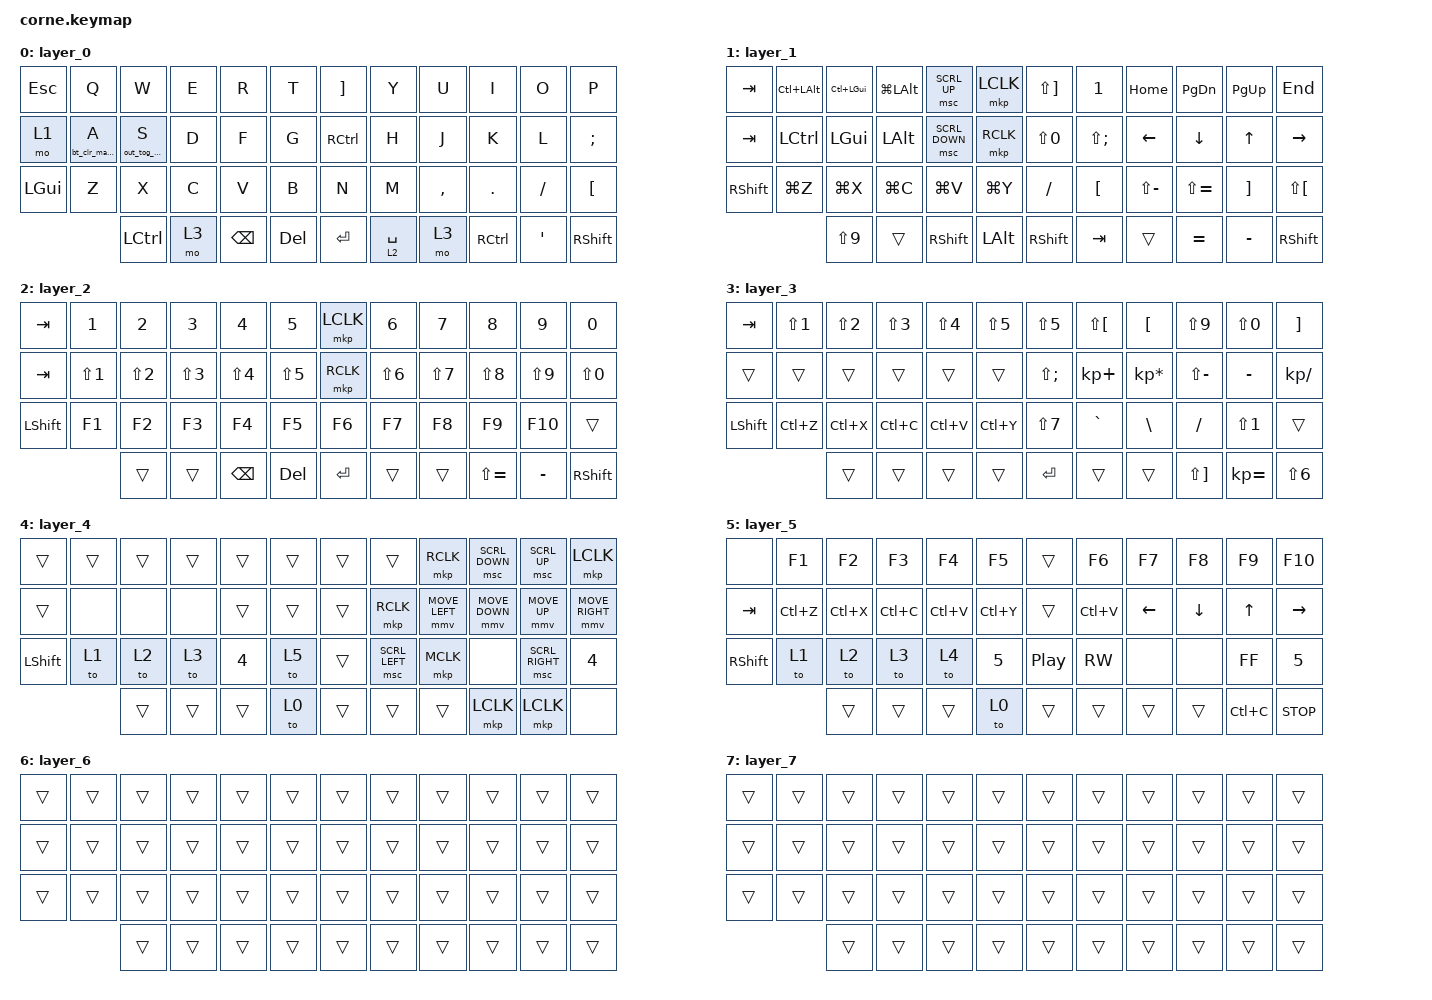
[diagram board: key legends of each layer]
/*
 * Copyright (c) 2020 The ZMK Contributors
 *
 * SPDX-License-Identifier: MIT
 */

#include <behaviors.dtsi>
#include <dt-bindings/zmk/keys.h>
#include <dt-bindings/zmk/bt.h>
#include <dt-bindings/zmk/outputs.h>
#include <dt-bindings/zmk/pointing.h>

/ {
        macros {
                // Macro to clear Bluetooth pairing
                bt_clr_macro: bt_clr_macro {
                        compatible = "zmk,behavior-macro";
                        #binding-cells = <0>;
                        bindings = <&bt BT_CLR>;
                };
                // Macro to toggle output (USB/BT)
                out_tog_macro: out_tog_macro {
                        compatible = "zmk,behavior-macro";
                        #binding-cells = <0>;
                        bindings = <&out OUT_TOG>;
                };
        };

        behaviors {
                // Hold A key to clear Bluetooth and enter pairing mode
                ht_a_bt: hold_tap_a_bt {
                        compatible = "zmk,behavior-hold-tap";
                        #binding-cells = <2>;
                        flavor = "tap-preferred";
                        tapping-term-ms = <500>;
                        bindings = <&bt_clr_macro>, <&kp>;
                };
                // Hold S key to toggle output (USB/BT)
                ht_s_out: hold_tap_s_out {
                        compatible = "zmk,behavior-hold-tap";
                        #binding-cells = <2>;
                        flavor = "tap-preferred";
                        tapping-term-ms = <500>;
                        bindings = <&out_tog_macro>, <&kp>;
                };
        };

        keymap {
                compatible = "zmk,keymap";
                layer_0 {
                        bindings = <
   &kp ESC &kp Q &kp W &kp E &kp R &kp T &kp RBKT &kp Y &kp U &kp I &kp O &kp P
   &mo 1 &ht_a_bt 0 A &ht_s_out 0 S &kp D &kp F &kp G &kp RCTRL &kp H &kp J &kp K &kp L &kp SEMI
   &kp LGUI &kp Z &kp X &kp C &kp V &kp B &kp N &kp M &kp COMMA &kp DOT &kp FSLH &kp LBKT
                    &kp LCTRL &mo 3 &kp BSPC &kp DEL &kp RET &lt 2 SPACE &mo 3 &kp RCTRL &kp SQT &kp RSHIFT
                        >;
                };
                layer_1 {
                        bindings = <
   &kp TAB &kp LC(LALT) &kp LC(LGUI) &kp LG(LALT) &msc SCRL_UP &mkp LCLK &kp LS(RBKT) &kp 1 &kp HOME &kp PG_DN &kp PG_UP &kp END
   &kp TAB &kp LCTRL &kp LGUI &kp LALT &msc SCRL_DOWN &mkp RCLK &kp LS(0) &kp LS(SEMI) &kp LEFT &kp DOWN &kp UP &kp RIGHT
   &kp RSHIFT &kp LG(Z) &kp LG(X) &kp LG(C) &kp LG(V) &kp LG(Y) &kp FSLH &kp LBKT &kp LS(MINUS) &kp LS(EQUAL) &kp RBKT &kp LS(LBKT)
                    &kp LS(9) &trans &kp RSHIFT &kp LALT &kp RSHIFT &kp TAB &trans &kp EQUAL &kp MINUS &kp RSHIFT
                        >;
                };
                layer_2 {
                        bindings = <
   &kp TAB &kp 1 &kp 2 &kp 3 &kp 4 &kp 5 &mkp LCLK &kp 6 &kp 7 &kp 8 &kp 9 &kp 0
   &kp TAB &kp LS(1) &kp LS(2) &kp LS(3) &kp LS(4) &kp LS(5) &mkp RCLK &kp LS(6) &kp LS(7) &kp LS(8) &kp LS(9) &kp LS(0)
   &kp LSHIFT &kp F1 &kp F2 &kp F3 &kp F4 &kp F5 &kp F6 &kp F7 &kp F8 &kp F9 &kp F10 &trans
                    &trans &trans &kp BSPC &kp DEL &kp RET &trans &trans &kp LS(EQUAL) &kp MINUS &kp RSHIFT
                        >;
                };
                layer_3 {
                        bindings = <
   &kp TAB &kp LS(1) &kp LS(2) &kp LS(3) &kp LS(4) &kp LS(5) &kp LS(5) &kp LS(LBKT) &kp LBKT &kp LS(9) &kp LS(0) &kp RBKT
   &trans &trans &trans &trans &trans &trans &kp LS(SEMI) &kp KP_PLUS &kp KP_MULTIPLY &kp LS(MINUS) &kp MINUS &kp KP_SLASH
   &kp LSHIFT &kp LC(Z) &kp LC(X) &kp LC(C) &kp LC(V) &kp LC(Y) &kp LS(7) &kp GRAVE &kp BSLH &kp FSLH &kp LS(1) &trans
                    &trans &trans &trans &trans &kp RET &trans &trans &kp LS(RBKT) &kp KP_EQUAL &kp LS(6)
                        >;
                };
                layer_4 {
                        bindings = <
   &trans &trans &trans &trans &trans &trans &trans &trans &mkp RCLK &msc SCRL_DOWN &msc SCRL_UP &mkp LCLK
   &trans &none /* KC_ACL2 */ &none /* KC_ACL1 */ &none /* KC_ACL0 */ &trans &trans &trans &mkp RCLK &mmv MOVE_LEFT &mmv MOVE_DOWN &mmv MOVE_UP &mmv MOVE_RIGHT
   &kp LSHIFT &to 1 &to 2 &to 3 &kp 4 &to 5 &trans &msc SCRL_LEFT &mkp MCLK &none /* KC_BTN4 */ &msc SCRL_RIGHT &kp 4
                    &trans &trans &trans &to 0 &trans &trans &trans &mkp LCLK &mkp LCLK &none /* KC_BTN5 */
                        >;
                };
                layer_5 {
                        bindings = <
   &none /* KC_ESCAPE */ &kp F1 &kp F2 &kp F3 &kp F4 &kp F5 &trans &kp F6 &kp F7 &kp F8 &kp F9 &kp F10
   &kp TAB &kp LC(Z) &kp LC(X) &kp LC(C) &kp LC(V) &kp LC(Y) &trans &kp LC(V) &kp LEFT &kp DOWN &kp UP &kp RIGHT
   &kp RSHIFT &to 1 &to 2 &to 3 &to 4 &kp 5 &kp C_PP &kp C_RW &none /* KC__VOLDOWN */ &none /* KC__VOLUP */ &kp C_FF &kp 5
                    &trans &trans &trans &to 0 &trans &trans &trans &trans &kp LC(C) &kp C_STOP
                        >;
                };
                layer_6 {
                        bindings = <
   &trans &trans &trans &trans &trans &trans &trans &trans &trans &trans &trans &trans
   &trans &trans &trans &trans &trans &trans &trans &trans &trans &trans &trans &trans
   &trans &trans &trans &trans &trans &trans &trans &trans &trans &trans &trans &trans
                    &trans &trans &trans &trans &trans &trans &trans &trans &trans &trans
                        >;
                };
                layer_7 {
                        bindings = <
   &trans &trans &trans &trans &trans &trans &trans &trans &trans &trans &trans &trans
   &trans &trans &trans &trans &trans &trans &trans &trans &trans &trans &trans &trans
   &trans &trans &trans &trans &trans &trans &trans &trans &trans &trans &trans &trans
                    &trans &trans &trans &trans &trans &trans &trans &trans &trans &trans
                        >;
                };
        };
};
